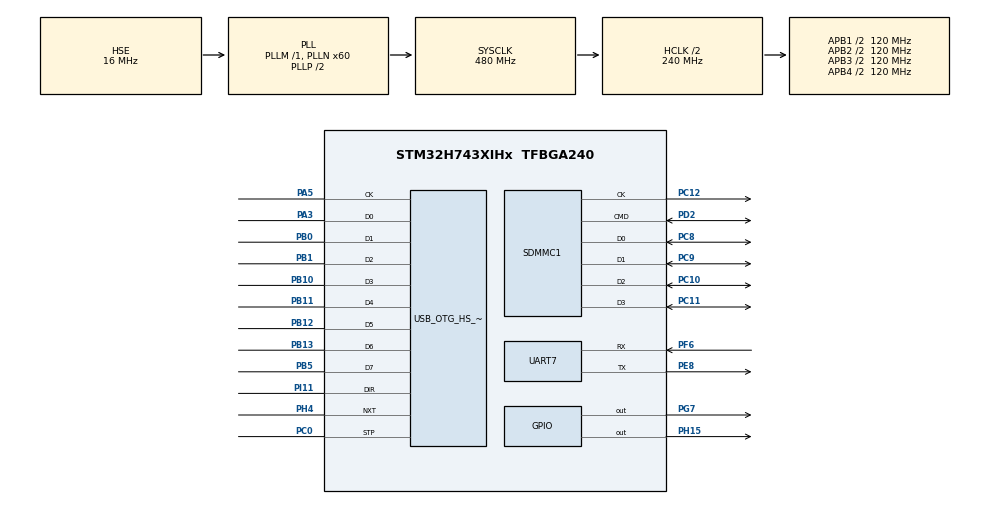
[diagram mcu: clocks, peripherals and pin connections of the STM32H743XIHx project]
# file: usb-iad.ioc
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CORTEX_M7.CPU_DCache=Enabled
CORTEX_M7.CPU_ICache=Enabled
CORTEX_M7.MPU_Control=__NULL
Dma.Request0=UART7_TX
Dma.UART7_TX.0.Direction=DMA_MEMORY_TO_PERIPH
Dma.UART7_TX.0.EventEnable=DISABLE
Dma.UART7_TX.0.FIFOMode=DMA_FIFOMODE_DISABLE
Dma.UART7_TX.0.Instance=DMA1_Stream0
Dma.UART7_TX.0.MemDataAlignment=DMA_MDATAALIGN_BYTE
Dma.UART7_TX.0.MemInc=DMA_MINC_ENABLE
Dma.UART7_TX.0.Mode=DMA_NORMAL
Dma.UART7_TX.0.PeriphDataAlignment=DMA_PDATAALIGN_BYTE
Dma.UART7_TX.0.PeriphInc=DMA_PINC_DISABLE
Dma.UART7_TX.0.Polarity=HAL_DMAMUX_REQ_GEN_RISING
Dma.UART7_TX.0.Priority=DMA_PRIORITY_LOW
Dma.UART7_TX.0.RequestNumber=1
Dma.UART7_TX.0.SignalID=NONE
Dma.UART7_TX.0.SyncEnable=DISABLE
Dma.UART7_TX.0.SyncPolarity=HAL_DMAMUX_SYNC_NO_EVENT
Dma.UART7_TX.0.SyncRequestNumber=1
Dma.UART7_TX.0.SyncSignalID=NONE
Mcu.Family=STM32H7
Mcu.Name=STM32H743XIHx
Mcu.Package=TFBGA240
NVIC.DMA1_Stream0_IRQn=true\:0\:0\:false\:false\:true\:false\:true
NVIC.OTG_HS_IRQn=true\:1\:0\:true\:false\:true\:true\:true
NVIC.PriorityGroup=NVIC_PRIORITYGROUP_4
NVIC.SDMMC1_IRQn=true\:0\:0\:false\:false\:true\:true\:true
NVIC.UART7_IRQn=true\:0\:0\:false\:false\:true\:true\:true
PA3.GPIO_PuPd=GPIO_PULLUP
PA3.Mode=Device_HS
PA3.Signal=USB_OTG_HS_ULPI_D0
PA5.GPIO_PuPd=GPIO_PULLUP
PA5.Mode=Device_HS
PA5.Signal=USB_OTG_HS_ULPI_CK
PB0.GPIO_PuPd=GPIO_PULLUP
PB0.Mode=Device_HS
PB0.Signal=USB_OTG_HS_ULPI_D1
PB1.GPIO_PuPd=GPIO_PULLUP
PB1.Mode=Device_HS
PB1.Signal=USB_OTG_HS_ULPI_D2
PB10.GPIO_PuPd=GPIO_PULLUP
PB10.Mode=Device_HS
PB10.Signal=USB_OTG_HS_ULPI_D3
PB11.GPIO_PuPd=GPIO_PULLUP
PB11.Mode=Device_HS
PB11.Signal=USB_OTG_HS_ULPI_D4
PB12.GPIO_PuPd=GPIO_PULLUP
PB12.Mode=Device_HS
PB12.Signal=USB_OTG_HS_ULPI_D5
PB13.GPIO_PuPd=GPIO_PULLUP
PB13.Mode=Device_HS
PB13.Signal=USB_OTG_HS_ULPI_D6
PB5.GPIO_PuPd=GPIO_PULLUP
PB5.Mode=Device_HS
PB5.Signal=USB_OTG_HS_ULPI_D7
PC0.GPIO_PuPd=GPIO_PULLUP
PC0.Mode=Device_HS
PC0.Signal=USB_OTG_HS_ULPI_STP
PC10.Mode=SD_4_bits_Wide_bus
PC10.Signal=SDMMC1_D2
PC11.Mode=SD_4_bits_Wide_bus
PC11.Signal=SDMMC1_D3
PC12.Mode=SD_4_bits_Wide_bus
PC12.Signal=SDMMC1_CK
PC8.Mode=SD_4_bits_Wide_bus
PC8.Signal=SDMMC1_D0
PC9.Mode=SD_4_bits_Wide_bus
PC9.Signal=SDMMC1_D1
PD2.Mode=SD_4_bits_Wide_bus
PD2.Signal=SDMMC1_CMD
PE8.Mode=Asynchronous
PE8.Signal=UART7_TX
PF6.Mode=Asynchronous
PF6.Signal=UART7_RX
PG7.GPIO_PuPd=GPIO_PULLUP
PG7.GPIO_Speed=GPIO_SPEED_FREQ_VERY_HIGH
PG7.PinState=GPIO_PIN_SET
PG7.Signal=GPIO_Output
PH0-OSC_IN\ (PH0).Mode=HSE-External-Oscillator
PH0-OSC_IN\ (PH0).Signal=RCC_OSC_IN
PH1-OSC_OUT\ (PH1).Mode=HSE-External-Oscillator
PH1-OSC_OUT\ (PH1).Signal=RCC_OSC_OUT
PH15.GPIO_PuPd=GPIO_PULLUP
PH15.PinState=GPIO_PIN_RESET
PH15.Signal=GPIO_Output
PH4.GPIO_PuPd=GPIO_PULLUP
PH4.Mode=Device_HS
PH4.Signal=USB_OTG_HS_ULPI_NXT
PI11.GPIO_PuPd=GPIO_PULLUP
PI11.Mode=Device_HS
PI11.Signal=USB_OTG_HS_ULPI_DIR
ProjectManager.HeapSize=0x8000
ProjectManager.StackSize=0x8000
ProjectManager.TargetToolchain=STM32CubeIDE
RCC.ADCFreq_Value=32250000
RCC.APB1Freq_Value=120000000
RCC.APB2Freq_Value=120000000
RCC.APB3Freq_Value=120000000
RCC.APB4Freq_Value=120000000
RCC.CortexFreq_Value=480000000
RCC.D1PPRE=RCC_APB3_DIV2
RCC.D2PPRE1=RCC_APB1_DIV2
RCC.D2PPRE2=RCC_APB2_DIV2
RCC.D3PPRE=RCC_APB4_DIV2
RCC.DIVM1=1
RCC.DIVN1=60
RCC.DIVQ1=5
RCC.HCLKFreq_Value=240000000
RCC.HPRE=RCC_HCLK_DIV2
RCC.HSE_VALUE=16000000
RCC.PLLFRACN=0
RCC.PLLSourceVirtual=RCC_PLLSOURCE_HSE
RCC.SYSCLKFreq_VALUE=480000000
RCC.SYSCLKSource=RCC_SYSCLKSOURCE_PLLCLK
RCC.USBFreq_Value=192000000
USB_DEVICE.CLASS_NAME_HS=MSC
USB_DEVICE.MSC_MEDIA_PACKET-MSC_HS=32768
USB_DEVICE.VirtualMode-MSC_HS=Msc
USB_DEVICE.VirtualModeHS=Msc_HS
USB_OTG_HS.VirtualMode-Device_HS=Device_HS
USB_OTG_HS.dma_enable-Device_HS=DISABLE
VP_USB_DEVICE_VS_USB_DEVICE_MSC_HS.Mode=MSC_HS
board=custom

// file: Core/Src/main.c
/* USER CODE BEGIN Header */
/**
  ******************************************************************************
  * @file           : main.c
  * @brief          : Main program body
  ******************************************************************************
  * @attention
  *
  * <h2><center>&copy; Copyright (c) 2020 STMicroelectronics.
  * All rights reserved.</center></h2>
  *
  * This software component is licensed by ST under BSD 3-Clause license,
  * the "License"; You may not use this file except in compliance with the
  * License. You may obtain a copy of the License at:
  *                        opensource.org/licenses/BSD-3-Clause
  *
  ******************************************************************************
  */
/* USER CODE END Header */
#include "main.h"
#include "dma.h"
#include "sdmmc.h"
#include "usart.h"
#include "usb_device.h"
#include "gpio.h"

/* USER CODE BEGIN Includes */
#include "debug.h"
#include "usbd_cdc_if.h"
/* USER CODE END Includes */

void SystemClock_Config(void);

/* USER CODE BEGIN 0 */
#include <stdio.h>

uint8_t w_flag = 0, r_flag = 0;

void sd_write(uint8_t chan, uint8_t *buff, uint32_t sector, uint32_t count)
{
    uint8_t i = 0;
    HAL_StatusTypeDef ret = HAL_ERROR;

    if (!((uint32_t)buff & 0x3)) {
        uint32_t alignedAddr;
        alignedAddr = (uint32_t)buff & ~0x1F;
        w_flag = 0;
       // SCB_CleanDCache_by_Addr((uint32_t*)alignedAddr, count*BLOCKSIZE + ((uint32_t)buff - alignedAddr));
        for ( i = 0; i < 10; i++) {
            ret = HAL_SD_WriteBlocks_DMA(&hsd1, buff, sector, count);
            if (ret == HAL_OK) {
                while(1) {
                    if (w_flag == 1) {
                        return;
                    }
                }
            }
        }
    }
    printf("sd_write err %d %d \r\n", ret, i);
}

void sd_read(uint8_t chan, uint8_t *buff, uint32_t sector, uint32_t count)
{
    uint32_t alignedAddr;
    uint8_t i = 0;
    HAL_StatusTypeDef ret = HAL_ERROR;

    if (!((uint32_t)buff & 0x3)) {
        //SCB_CleanDCache_by_Addr((uint32_t*)buff, 512 * count);
        r_flag = 0;
        for (i = 0; i < 10; i++) {
            ret = HAL_SD_ReadBlocks_DMA(&hsd1, buff, sector, count);
            if (ret == HAL_OK) {
                while(1){
                    if (r_flag == 1) {
                        alignedAddr = (uint32_t)buff & ~0x1F;
                       // SCB_InvalidateDCache_by_Addr((uint32_t*)alignedAddr, count*BLOCKSIZE + ((uint32_t)buff - alignedAddr));
                        return ;
                    }
                }
            }
        }
    }
    printf("sd_write err %d %d \r\n", ret, i);
}

void HAL_SD_TxCpltCallback(SD_HandleTypeDef *hsd)
{
    w_flag = 1;
}

void HAL_SD_RxCpltCallback(SD_HandleTypeDef *hsd)
{
    r_flag = 1;
}
/**
 * �޸�RAM_D3����Ļ�������
 * B:1,C:0
 */
void mpu_dma3_config(void)
{
    MPU_Region_InitTypeDef MPU_InitStruct;

    HAL_MPU_Disable();

    MPU_InitStruct.Enable           = MPU_REGION_ENABLE;
    MPU_InitStruct.BaseAddress      = 0x38000000;
    MPU_InitStruct.Size             = MPU_REGION_SIZE_64KB;
    MPU_InitStruct.AccessPermission = MPU_REGION_FULL_ACCESS;
    MPU_InitStruct.IsBufferable     = MPU_ACCESS_BUFFERABLE;
    MPU_InitStruct.IsCacheable      = MPU_ACCESS_NOT_CACHEABLE;
    MPU_InitStruct.IsShareable      = MPU_ACCESS_NOT_SHAREABLE;
    MPU_InitStruct.Number           = MPU_REGION_NUMBER0;
    MPU_InitStruct.TypeExtField     = MPU_TEX_LEVEL1;
    MPU_InitStruct.SubRegionDisable = 0x00;
    MPU_InitStruct.DisableExec      = MPU_INSTRUCTION_ACCESS_ENABLE;

    HAL_MPU_ConfigRegion(&MPU_InitStruct);

    HAL_MPU_Enable(MPU_PRIVILEGED_DEFAULT);
}
/* USER CODE END 0 */

int main(void)
{

  /* Enable I-Cache---------------------------------------------------------*/
  //SCB_EnableICache();

  /* Enable D-Cache---------------------------------------------------------*/
  //SCB_EnableDCache();
    mpu_dma3_config();
    debug_init();
  /* MCU Configuration--------------------------------------------------------*/

  /* Reset of all peripherals, Initializes the Flash interface and the Systick. */
  HAL_Init();

  /* Configure the system clock */
  SystemClock_Config();

  /* Initialize all configured peripherals */
  MX_GPIO_Init();
  MX_DMA_Init();
  MX_UART7_Init();
  MX_SDMMC1_SD_Init();
  MX_USB_DEVICE_Init();

  /* USER CODE BEGIN 2 */
  HAL_GPIO_WritePin(GPIOH, GPIO_PIN_15, 0);
  HAL_GPIO_WritePin(GPIOG, GPIO_PIN_7, 1);

 eprintf("test \r\n");
 uint32_t time = 0;
 uint8_t buf[128] = {0};
 uint16_t len = 0;
 uint16_t i = 0;
  /* USER CODE END 2 */

  /* Infinite loop */
  /* USER CODE BEGIN WHILE */
  while (1)
  {
    //  printf("test \r\n");
      debug_loop(NULL);

      if (HAL_GetTick() - time > 1) {
          time = HAL_GetTick();
          len = sprintf(buf, "main %d \r\n", i++);
          CDC_Transmit_HS(buf, len);
      }

      HAL_Delay(1);
    /* USER CODE END WHILE */

  }
}

void SystemClock_Config(void)
{
  RCC_OscInitTypeDef RCC_OscInitStruct = {0};
  RCC_ClkInitTypeDef RCC_ClkInitStruct = {0};
  RCC_PeriphCLKInitTypeDef PeriphClkInitStruct = {0};

  /** Supply configuration update enable
  */
  HAL_PWREx_ConfigSupply(PWR_LDO_SUPPLY);
  /** Configure the main internal regulator output voltage
  */
  __HAL_PWR_VOLTAGESCALING_CONFIG(PWR_REGULATOR_VOLTAGE_SCALE0);

  while(!__HAL_PWR_GET_FLAG(PWR_FLAG_VOSRDY)) {}
  /** Initializes the RCC Oscillators according to the specified parameters
  * in the RCC_OscInitTypeDef structure.
  */
  RCC_OscInitStruct.OscillatorType = RCC_OSCILLATORTYPE_HSE;
  RCC_OscInitStruct.HSEState = RCC_HSE_ON;
  RCC_OscInitStruct.PLL.PLLState = RCC_PLL_ON;
  RCC_OscInitStruct.PLL.PLLSource = RCC_PLLSOURCE_HSE;
  RCC_OscInitStruct.PLL.PLLM = 1;
  RCC_OscInitStruct.PLL.PLLN = 60;
  RCC_OscInitStruct.PLL.PLLP = 2;
  RCC_OscInitStruct.PLL.PLLQ = 5;
  RCC_OscInitStruct.PLL.PLLR = 2;
  RCC_OscInitStruct.PLL.PLLRGE = RCC_PLL1VCIRANGE_3;
  RCC_OscInitStruct.PLL.PLLVCOSEL = RCC_PLL1VCOWIDE;
  RCC_OscInitStruct.PLL.PLLFRACN = 0;
  if (HAL_RCC_OscConfig(&RCC_OscInitStruct) != HAL_OK)
  {
    Error_Handler();
  }
  /** Initializes the CPU, AHB and APB buses clocks
  */
  RCC_ClkInitStruct.ClockType = RCC_CLOCKTYPE_HCLK|RCC_CLOCKTYPE_SYSCLK
                              |RCC_CLOCKTYPE_PCLK1|RCC_CLOCKTYPE_PCLK2
                              |RCC_CLOCKTYPE_D3PCLK1|RCC_CLOCKTYPE_D1PCLK1;
  RCC_ClkInitStruct.SYSCLKSource = RCC_SYSCLKSOURCE_PLLCLK;
  RCC_ClkInitStruct.SYSCLKDivider = RCC_SYSCLK_DIV1;
  RCC_ClkInitStruct.AHBCLKDivider = RCC_HCLK_DIV2;
  RCC_ClkInitStruct.APB3CLKDivider = RCC_APB3_DIV2;
  RCC_ClkInitStruct.APB1CLKDivider = RCC_APB1_DIV2;
  RCC_ClkInitStruct.APB2CLKDivider = RCC_APB2_DIV2;
  RCC_ClkInitStruct.APB4CLKDivider = RCC_APB4_DIV2;

  if (HAL_RCC_ClockConfig(&RCC_ClkInitStruct, FLASH_LATENCY_4) != HAL_OK)
  {
    Error_Handler();
  }
  PeriphClkInitStruct.PeriphClockSelection = RCC_PERIPHCLK_UART7|RCC_PERIPHCLK_SDMMC;
  PeriphClkInitStruct.SdmmcClockSelection = RCC_SDMMCCLKSOURCE_PLL;
  PeriphClkInitStruct.Usart234578ClockSelection = RCC_USART234578CLKSOURCE_D2PCLK1;
  if (HAL_RCCEx_PeriphCLKConfig(&PeriphClkInitStruct) != HAL_OK)
  {
    Error_Handler();
  }
}

void Error_Handler(void)
{
}

/************************ (C) COPYRIGHT STMicroelectronics *****END OF FILE****/
